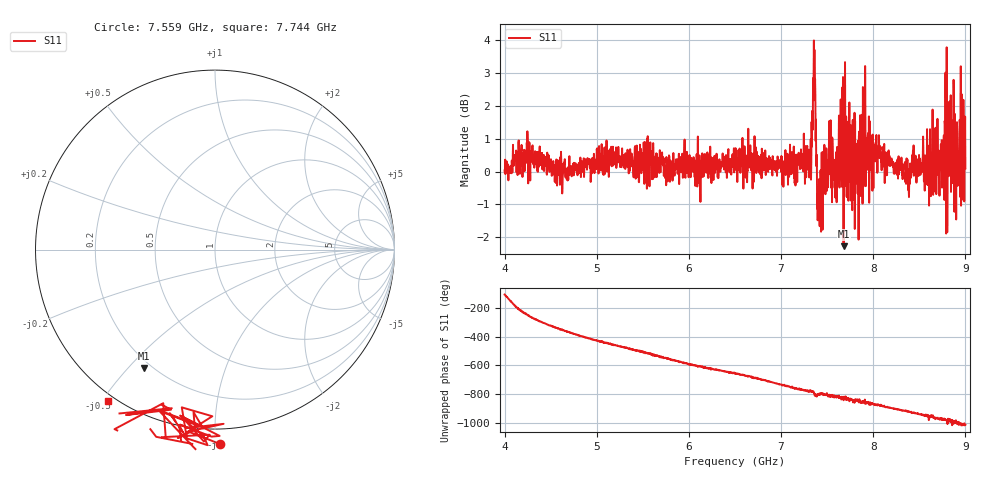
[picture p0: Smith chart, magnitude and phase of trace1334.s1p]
! Created with skrf 1.8.0 (http://scikit-rf.org).
# Hz S RI R 50.0
!freq ReS11 ImS11
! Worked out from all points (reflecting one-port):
!   1601 points, 4 GHz to 9 GHz, reference 50 ohm
!   lowest |S11| = -2.3 dB at 7.678 GHz (marker M1), VSWR 7.71, Z = 8.51 - j27.6 ohm
!   phase of S11 starts at -109 deg and turns -902 deg over the sweep
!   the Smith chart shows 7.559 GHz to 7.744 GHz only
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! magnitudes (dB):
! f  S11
! 4 GHz  0.0
! 4.247 GHz  1.2
! 4.625 GHz  -0.7
! 5.25 GHz  0.5
! 5.875 GHz  0.1
! 6.5 GHz  0.4
! 7.125 GHz  0.4
! 7.303 GHz  0.0
! 7.356 GHz  4.0
! 7.412 GHz  -0.2
! 7.538 GHz  1.6
! 7.591 GHz  0.1
! 7.65 GHz  1.0
! 7.678 GHz  -2.3
! 7.703 GHz  -0.2
! 7.75 GHz  0.0
! 7.816 GHz  0.2
! 7.928 GHz  1.0
! 7.981 GHz  0.0
! 8.05 GHz  0.8
! 8.375 GHz  -0.1
! 8.441 GHz  -0.1
! 8.612 GHz  -0.4
! 8.766 GHz  1.1
! 8.819 GHz  -0.1
! 8.875 GHz  1.0
! 8.959 GHz  2.4
! 9 GHz  0.1
